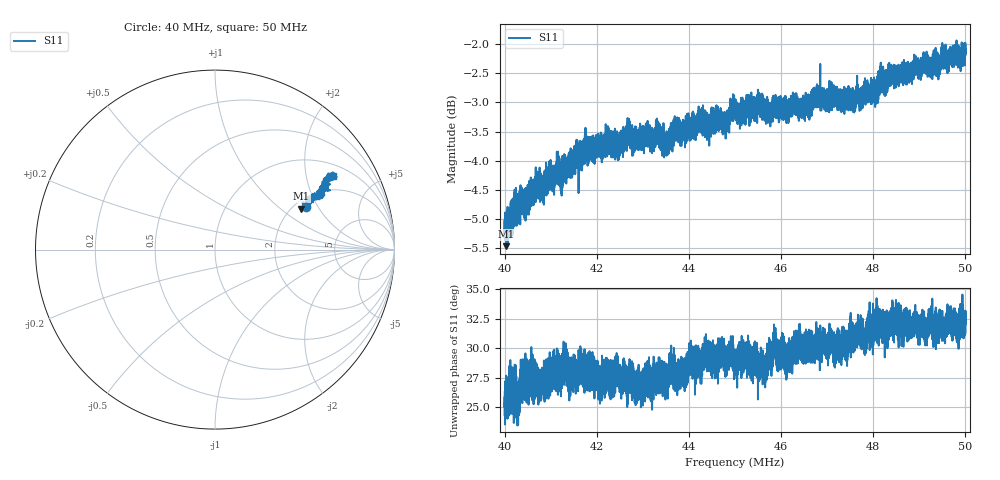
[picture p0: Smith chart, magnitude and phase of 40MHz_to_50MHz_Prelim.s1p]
# HZ S RI R 50
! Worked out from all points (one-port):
!   20200 points, 40 MHz to 50 MHz, reference 50 ohm
!   lowest |S11| = -5.5 dB at 40.03 MHz (marker M1), VSWR 3.28, Z = 112 + j71 ohm
!   |S11| at or under -10 dB: nowhere
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4e7  0.507 0.237
4.00297e7  0.4814 0.2277
4.029056e7  0.5121 0.2429
4.039204e7  0.5116 0.2767
4.124988e7  0.5554 0.3115
4.175874e7  0.5664 0.2858
4.249975e7  0.5705 0.2949
4.268587e7  0.5864 0.3121
4.351104e7  0.5898 0.29
4.374962e7  0.5959 0.3145
4.472874e7  0.588 0.3317
4.49995e7  0.612 0.3362
4.564795e7  0.6117 0.3426
4.58514e7  0.6033 0.3518
4.611968e7  0.6042 0.3329
4.624938e7  0.6159 0.3494
4.641322e7  0.6137 0.3592
4.716463e7  0.6214 0.354
4.749925e7  0.6176 0.3603
4.773042e7  0.6086 0.3625
4.782348e7  0.6208 0.3673
4.805959e7  0.6098 0.3824
4.839768e7  0.6265 0.4001
4.874912e7  0.6392 0.3923
4.942975e7  0.6458 0.4074
4.952974e7  0.6654 0.409
4.990495e7  0.6418 0.4106
4.99985e7  0.6773 0.4117
